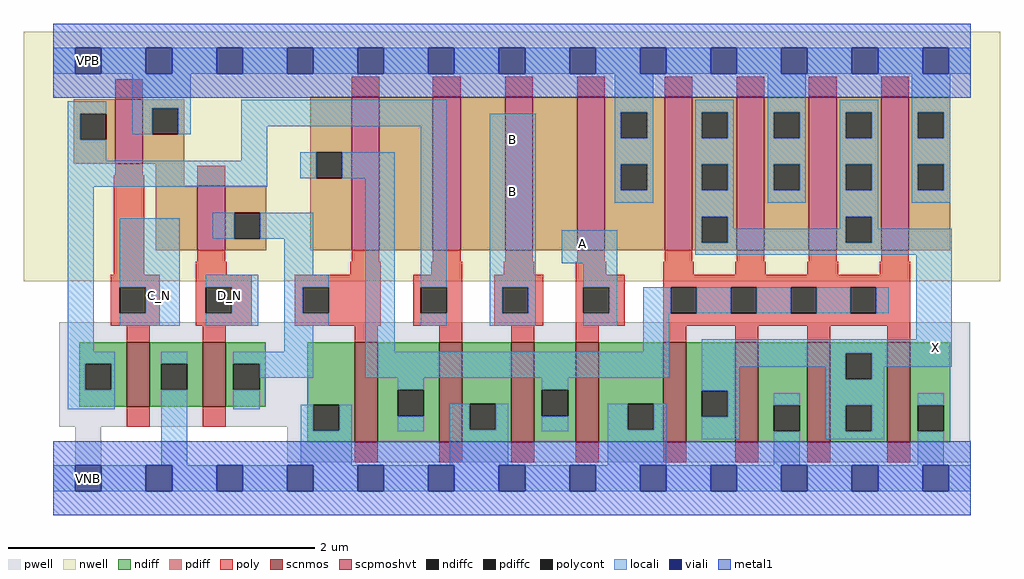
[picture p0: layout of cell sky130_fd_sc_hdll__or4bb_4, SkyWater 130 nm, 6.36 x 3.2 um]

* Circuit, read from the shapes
.subckt sky130_fd_sc_hdll__or4bb_4 A B C_N D_N VGND VNB VPB VPWR X
XM1 VGND C_N n1 VNB sky130_fd_pr__nfet_01v8 w=0.42 l=0.15
XM2 n2 D_N VGND VNB sky130_fd_pr__nfet_01v8 w=0.42 l=0.15
XM3 n3 n2 VGND VNB sky130_fd_pr__nfet_01v8 w=0.65 l=0.15
XM4 VGND n1 n3 VNB sky130_fd_pr__nfet_01v8 w=0.65 l=0.15
XM5 n3 B VGND VNB sky130_fd_pr__nfet_01v8 w=0.65 l=0.15
XM6 VGND A n3 VNB sky130_fd_pr__nfet_01v8 w=0.65 l=0.15
XM7 X n3 VGND VNB sky130_fd_pr__nfet_01v8 w=0.65 l=0.15 m=4
XM8 VPWR C_N n1 VPB sky130_fd_pr__pfet_01v8_hvt w=0.42 l=0.18
XM9 n2 D_N VPWR VPB sky130_fd_pr__pfet_01v8_hvt w=0.42 l=0.18
XM10 n4 n2 n3 VPB sky130_fd_pr__pfet_01v8_hvt w=1 l=0.18
XM11 n5 n1 n4 VPB sky130_fd_pr__pfet_01v8_hvt w=1 l=0.18
XM12 n6 B n5 VPB sky130_fd_pr__pfet_01v8_hvt w=1 l=0.18
XM13 VPWR A n6 VPB sky130_fd_pr__pfet_01v8_hvt w=1 l=0.18
XM14 X n3 VPWR VPB sky130_fd_pr__pfet_01v8_hvt w=1 l=0.18 m=4
.ends

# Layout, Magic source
magic
tech sky130A
magscale 1 2
<< nwell >>
rect -38 257 1234 582
<< pwell >>
rect 8 67 1195 203
rect 29 -17 63 67
rect 305 21 1195 67
<< scnmos >>
rect 96 93 126 177
rect 195 93 225 177
rect 393 47 423 177
rect 503 47 533 177
rect 597 47 627 177
rect 681 47 711 177
rect 795 47 825 177
rect 889 47 919 177
rect 983 47 1013 177
rect 1087 47 1117 177
<< scpmoshvt >>
rect 81 410 117 494
rect 188 297 224 381
rect 389 297 425 497
rect 495 297 531 497
rect 589 297 625 497
rect 683 297 719 497
rect 797 297 833 497
rect 891 297 927 497
rect 985 297 1021 497
rect 1079 297 1115 497
<< ndiff >>
rect 34 149 96 177
rect 34 115 42 149
rect 76 115 96 149
rect 34 93 96 115
rect 126 149 195 177
rect 126 115 141 149
rect 175 115 195 149
rect 126 93 195 115
rect 225 149 277 177
rect 225 115 235 149
rect 269 115 277 149
rect 225 93 277 115
rect 331 96 393 177
rect 331 62 339 96
rect 373 62 393 96
rect 331 47 393 62
rect 423 115 503 177
rect 423 81 449 115
rect 483 81 503 115
rect 423 47 503 81
rect 533 97 597 177
rect 533 63 543 97
rect 577 63 597 97
rect 533 47 597 63
rect 627 115 681 177
rect 627 81 637 115
rect 671 81 681 115
rect 627 47 681 81
rect 711 97 795 177
rect 711 63 749 97
rect 783 63 795 97
rect 711 47 795 63
rect 825 114 889 177
rect 825 80 845 114
rect 879 80 889 114
rect 825 47 889 80
rect 919 95 983 177
rect 919 61 939 95
rect 973 61 983 95
rect 919 47 983 61
rect 1013 163 1087 177
rect 1013 129 1033 163
rect 1067 129 1087 163
rect 1013 95 1087 129
rect 1013 61 1033 95
rect 1067 61 1087 95
rect 1013 47 1087 61
rect 1117 95 1169 177
rect 1117 61 1127 95
rect 1161 61 1169 95
rect 1117 47 1169 61
<< pdiff >>
rect 27 475 81 494
rect 27 441 35 475
rect 69 441 81 475
rect 27 410 81 441
rect 117 482 171 494
rect 117 448 129 482
rect 163 448 171 482
rect 117 410 171 448
rect 134 381 171 410
rect 335 425 389 497
rect 335 391 343 425
rect 377 391 389 425
rect 134 297 188 381
rect 224 346 278 381
rect 224 312 236 346
rect 270 312 278 346
rect 224 297 278 312
rect 335 297 389 391
rect 425 297 495 497
rect 531 297 589 497
rect 625 297 683 497
rect 719 477 797 497
rect 719 443 740 477
rect 774 443 797 477
rect 719 409 797 443
rect 719 375 740 409
rect 774 375 797 409
rect 719 297 797 375
rect 833 477 891 497
rect 833 443 845 477
rect 879 443 891 477
rect 833 409 891 443
rect 833 375 845 409
rect 879 375 891 409
rect 833 341 891 375
rect 833 307 845 341
rect 879 307 891 341
rect 833 297 891 307
rect 927 477 985 497
rect 927 443 939 477
rect 973 443 985 477
rect 927 409 985 443
rect 927 375 939 409
rect 973 375 985 409
rect 927 297 985 375
rect 1021 477 1079 497
rect 1021 443 1033 477
rect 1067 443 1079 477
rect 1021 409 1079 443
rect 1021 375 1033 409
rect 1067 375 1079 409
rect 1021 341 1079 375
rect 1021 307 1033 341
rect 1067 307 1079 341
rect 1021 297 1079 307
rect 1115 477 1169 497
rect 1115 443 1127 477
rect 1161 443 1169 477
rect 1115 409 1169 443
rect 1115 375 1127 409
rect 1161 375 1169 409
rect 1115 297 1169 375
<< ndiffc >>
rect 42 115 76 149
rect 141 115 175 149
rect 235 115 269 149
rect 339 62 373 96
rect 449 81 483 115
rect 543 63 577 97
rect 637 81 671 115
rect 749 63 783 97
rect 845 80 879 114
rect 939 61 973 95
rect 1033 129 1067 163
rect 1033 61 1067 95
rect 1127 61 1161 95
<< pdiffc >>
rect 35 441 69 475
rect 129 448 163 482
rect 343 391 377 425
rect 236 312 270 346
rect 740 443 774 477
rect 740 375 774 409
rect 845 443 879 477
rect 845 375 879 409
rect 845 307 879 341
rect 939 443 973 477
rect 939 375 973 409
rect 1033 443 1067 477
rect 1033 375 1067 409
rect 1033 307 1067 341
rect 1127 443 1161 477
rect 1127 375 1161 409
<< poly >>
rect 81 494 117 520
rect 389 497 425 523
rect 495 497 531 523
rect 589 497 625 523
rect 683 497 719 523
rect 797 497 833 523
rect 891 497 927 523
rect 985 497 1021 523
rect 1079 497 1115 523
rect 81 395 117 410
rect 79 265 119 395
rect 188 381 224 407
rect 188 282 224 297
rect 389 282 425 297
rect 495 282 531 297
rect 589 282 625 297
rect 683 282 719 297
rect 797 282 833 297
rect 891 282 927 297
rect 985 282 1021 297
rect 1079 282 1115 297
rect 186 265 226 282
rect 387 265 427 282
rect 493 265 533 282
rect 587 265 627 282
rect 681 265 721 282
rect 795 265 835 282
rect 889 265 929 282
rect 983 265 1023 282
rect 1077 265 1117 282
rect 75 249 139 265
rect 75 215 87 249
rect 121 215 139 249
rect 75 199 139 215
rect 186 249 259 265
rect 186 215 199 249
rect 233 215 259 249
rect 186 199 259 215
rect 315 249 427 265
rect 315 215 325 249
rect 359 215 427 249
rect 315 199 427 215
rect 469 249 533 265
rect 469 215 479 249
rect 513 215 533 249
rect 469 199 533 215
rect 575 249 639 265
rect 575 215 585 249
rect 619 215 639 249
rect 575 199 639 215
rect 681 249 745 265
rect 681 215 691 249
rect 725 215 745 249
rect 681 199 745 215
rect 795 249 1117 265
rect 795 215 805 249
rect 839 215 883 249
rect 917 215 961 249
rect 995 215 1039 249
rect 1073 215 1117 249
rect 795 199 1117 215
rect 96 177 126 199
rect 195 177 225 199
rect 393 177 423 199
rect 503 177 533 199
rect 597 177 627 199
rect 681 177 711 199
rect 795 177 825 199
rect 889 177 919 199
rect 983 177 1013 199
rect 1087 177 1117 199
rect 96 67 126 93
rect 195 67 225 93
rect 393 21 423 47
rect 503 21 533 47
rect 597 21 627 47
rect 681 21 711 47
rect 795 21 825 47
rect 889 21 919 47
rect 983 21 1013 47
rect 1087 21 1117 47
<< polycont >>
rect 87 215 121 249
rect 199 215 233 249
rect 325 215 359 249
rect 479 215 513 249
rect 585 215 619 249
rect 691 215 725 249
rect 805 215 839 249
rect 883 215 917 249
rect 961 215 995 249
rect 1039 215 1073 249
<< locali >>
rect 0 527 29 561
rect 63 527 121 561
rect 155 527 213 561
rect 247 527 305 561
rect 339 527 397 561
rect 431 527 489 561
rect 523 527 581 561
rect 615 527 673 561
rect 707 527 765 561
rect 799 527 857 561
rect 891 527 949 561
rect 983 527 1041 561
rect 1075 527 1133 561
rect 1167 527 1196 561
rect 19 475 69 491
rect 19 441 35 475
rect 103 482 179 527
rect 103 448 129 482
rect 163 448 179 482
rect 245 459 513 493
rect 732 477 782 527
rect 19 414 69 441
rect 245 414 279 459
rect 19 380 279 414
rect 322 391 343 425
rect 377 391 445 425
rect 19 165 53 380
rect 87 249 165 339
rect 208 312 236 346
rect 270 312 339 346
rect 301 265 339 312
rect 121 215 165 249
rect 87 199 165 215
rect 199 249 267 265
rect 233 215 267 249
rect 199 199 267 215
rect 301 249 359 265
rect 301 215 325 249
rect 301 199 359 215
rect 301 165 339 199
rect 19 149 80 165
rect 19 115 42 149
rect 76 115 80 149
rect 19 90 80 115
rect 141 149 175 165
rect 141 17 175 115
rect 235 149 339 165
rect 269 131 339 149
rect 407 165 445 391
rect 479 249 513 459
rect 479 199 513 215
rect 569 249 629 475
rect 732 443 740 477
rect 774 443 782 477
rect 732 409 782 443
rect 732 375 740 409
rect 774 375 782 409
rect 732 359 782 375
rect 837 477 887 493
rect 837 443 845 477
rect 879 443 887 477
rect 837 409 887 443
rect 837 375 845 409
rect 879 375 887 409
rect 837 341 887 375
rect 931 477 981 527
rect 931 443 939 477
rect 973 443 981 477
rect 931 409 981 443
rect 931 375 939 409
rect 973 375 981 409
rect 931 359 981 375
rect 1025 477 1075 493
rect 1025 443 1033 477
rect 1067 443 1075 477
rect 1025 409 1075 443
rect 1025 375 1033 409
rect 1067 375 1075 409
rect 663 280 735 323
rect 837 307 845 341
rect 879 325 887 341
rect 1025 341 1075 375
rect 1119 477 1169 527
rect 1119 443 1127 477
rect 1161 443 1169 477
rect 1119 409 1169 443
rect 1119 375 1127 409
rect 1161 375 1169 409
rect 1119 359 1169 375
rect 1025 325 1033 341
rect 879 307 1033 325
rect 1067 325 1075 341
rect 1067 307 1171 325
rect 837 291 1171 307
rect 569 215 585 249
rect 619 215 629 249
rect 569 199 629 215
rect 691 249 735 280
rect 725 215 735 249
rect 691 199 735 215
rect 769 215 805 249
rect 839 215 883 249
rect 917 215 961 249
rect 995 215 1039 249
rect 1073 215 1089 249
rect 769 165 803 215
rect 1125 181 1171 291
rect 407 131 803 165
rect 845 163 1171 181
rect 845 145 1033 163
rect 235 90 269 115
rect 449 115 483 131
rect 323 62 339 96
rect 373 62 389 96
rect 323 17 389 62
rect 637 115 671 131
rect 449 61 483 81
rect 517 63 543 97
rect 577 63 593 97
rect 517 17 593 63
rect 845 114 895 145
rect 637 61 671 81
rect 723 63 749 97
rect 783 63 799 97
rect 723 17 799 63
rect 879 80 895 114
rect 1007 129 1033 145
rect 1067 145 1171 163
rect 1067 129 1083 145
rect 845 51 895 80
rect 939 95 973 111
rect 939 17 973 61
rect 1007 95 1083 129
rect 1007 61 1033 95
rect 1067 61 1083 95
rect 1007 51 1083 61
rect 1127 95 1161 111
rect 1127 17 1161 61
rect 0 -17 29 17
rect 63 -17 121 17
rect 155 -17 213 17
rect 247 -17 305 17
rect 339 -17 397 17
rect 431 -17 489 17
rect 523 -17 581 17
rect 615 -17 673 17
rect 707 -17 765 17
rect 799 -17 857 17
rect 891 -17 949 17
rect 983 -17 1041 17
rect 1075 -17 1133 17
rect 1167 -17 1196 17
<< viali >>
rect 29 527 63 561
rect 121 527 155 561
rect 213 527 247 561
rect 305 527 339 561
rect 397 527 431 561
rect 489 527 523 561
rect 581 527 615 561
rect 673 527 707 561
rect 765 527 799 561
rect 857 527 891 561
rect 949 527 983 561
rect 1041 527 1075 561
rect 1133 527 1167 561
rect 29 -17 63 17
rect 121 -17 155 17
rect 213 -17 247 17
rect 305 -17 339 17
rect 397 -17 431 17
rect 489 -17 523 17
rect 581 -17 615 17
rect 673 -17 707 17
rect 765 -17 799 17
rect 857 -17 891 17
rect 949 -17 983 17
rect 1041 -17 1075 17
rect 1133 -17 1167 17
<< metal1 >>
rect 0 561 1196 592
rect 0 527 29 561
rect 63 527 121 561
rect 155 527 213 561
rect 247 527 305 561
rect 339 527 397 561
rect 431 527 489 561
rect 523 527 581 561
rect 615 527 673 561
rect 707 527 765 561
rect 799 527 857 561
rect 891 527 949 561
rect 983 527 1041 561
rect 1075 527 1133 561
rect 1167 527 1196 561
rect 0 496 1196 527
rect 0 17 1196 48
rect 0 -17 29 17
rect 63 -17 121 17
rect 155 -17 213 17
rect 247 -17 305 17
rect 339 -17 397 17
rect 431 -17 489 17
rect 523 -17 581 17
rect 615 -17 673 17
rect 707 -17 765 17
rect 799 -17 857 17
rect 891 -17 949 17
rect 983 -17 1041 17
rect 1075 -17 1133 17
rect 1167 -17 1196 17
rect 0 -48 1196 -17
<< labels >>
flabel locali s 213 221 247 255 0 FreeSans 400 0 0 0 D_N
port 4 nsew signal input
flabel locali s 581 425 615 459 0 FreeSans 400 0 0 0 B
port 2 nsew signal input
flabel locali s 581 357 615 391 0 FreeSans 400 0 0 0 B
port 2 nsew signal input
flabel locali s 673 289 707 323 0 FreeSans 400 0 0 0 A
port 1 nsew signal input
flabel locali s 121 221 155 255 0 FreeSans 400 0 0 0 C_N
port 3 nsew signal input
flabel locali s 1133 153 1167 187 0 FreeSans 400 0 0 0 X
port 9 nsew signal output
flabel pwell s 29 -17 63 17 0 FreeSans 200 0 0 0 VNB
port 6 nsew ground bidirectional
flabel nwell s 29 527 63 561 0 FreeSans 200 0 0 0 VPB
port 7 nsew power bidirectional
flabel metal1 s 29 -17 63 17 0 FreeSans 200 0 0 0 VGND
port 5 nsew ground bidirectional
flabel metal1 s 29 527 63 561 0 FreeSans 200 0 0 0 VPWR
port 8 nsew power bidirectional
<< properties >>
string LEFsite unithd
string LEFclass CORE
string FIXED_BBOX 0 0 1196 544
string GDS_FILE $PDKPATH/libs.ref/sky130_fd_sc_hdll/gds/sky130_fd_sc_hdll.gds
string LEFsymmetry X Y R90
string GDS_END 2653426
string GDS_START 2644406
string LEFproperties maskLayoutSubType "abstract" prCellType "standard" originalViewName "layout"
<< end >>
